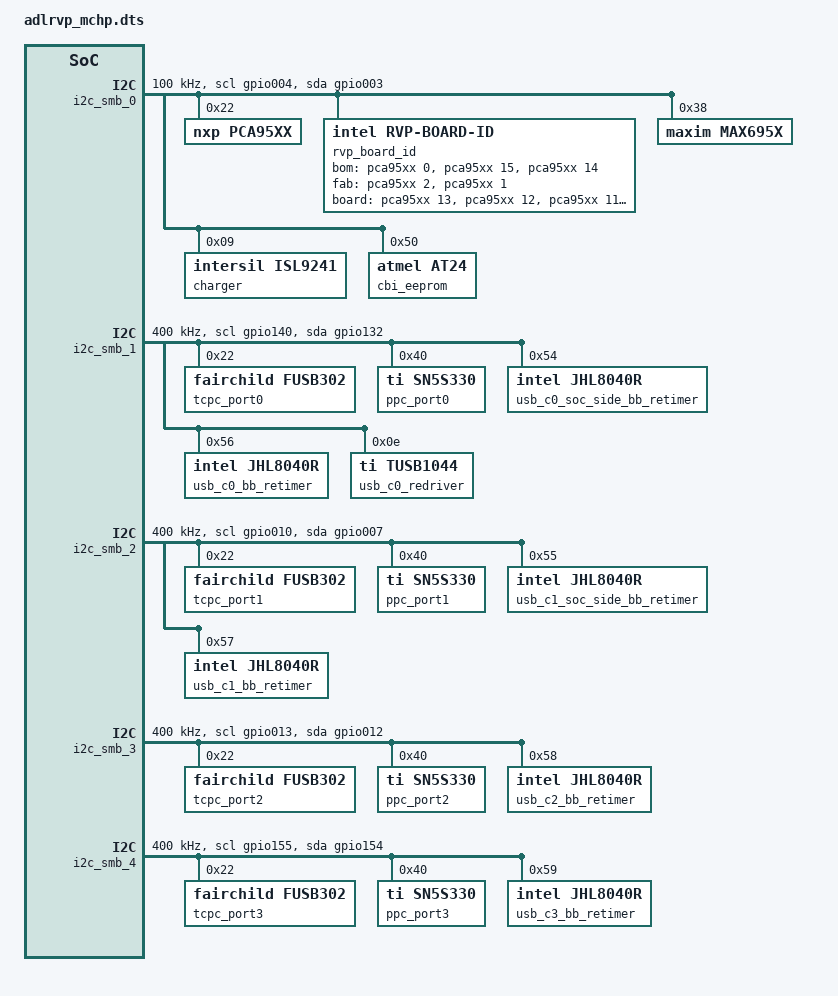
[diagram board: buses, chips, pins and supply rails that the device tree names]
/* Copyright 2022 The ChromiumOS Authors
 * Use of this source code is governed by a BSD-style license that can be
 * found in the LICENSE file.
 */

/ {
	hibernate-wake-pins {
		compatible = "cros-ec,hibernate-wake-pins";
		wakeup-irqs = <
			&int_ac_present
			&int_lid_open
			&int_power_button
		>;
	};

	named-i2c-ports {
		compatible = "named-i2c-ports";

		i2c_charger: charger {
			i2c-port = <&i2c_smb_0>;
			enum-names = "I2C_PORT_BATTERY",
				"I2C_PORT_CHARGER",
				"I2C_PORT_EEPROM",
				"I2C_PORT_PORT80";
		};
		typec_0: typec-0 {
			i2c-port = <&i2c_smb_1>;
			enum-names = "I2C_PORT_TYPEC_0";
		};
		typec_1: typec-1 {
			i2c-port = <&i2c_smb_2>;
			enum-names = "I2C_PORT_TYPEC_1";
		};
		typec_2: typec-2 {
			i2c-port = <&i2c_smb_3>;
			enum-names = "I2C_PORT_TYPEC_2";
		};
		typec_3: typec-3 {
			i2c-port = <&i2c_smb_4>;
			enum-names = "I2C_PORT_TYPEC_3";
		};
	};
};

/* charger */
&i2c_smb_0 {
	status = "okay";
	clock-frequency = <I2C_BITRATE_STANDARD>;
	port_sel = <0>;
	pinctrl-0 = <&i2c00_scl_gpio004 &i2c00_sda_gpio003>;
	pinctrl-names = "default";

	pca95xx: pca95xx@22 {
		compatible = "nxp,pca95xx";
		label = "PCA95XX";
		reg = <0x22>;
		gpio-controller;
		#gpio-cells = <2>;
		ngpios = <16>;
	};

	rvp_board_id: rvp-board-id {
		compatible = "intel,rvp-board-id";

		/*
		 * BOM ID [2]   : IOEX[0]
		 * BOM ID [1:0] : IOEX[15:14]
		 */
		bom-gpios = <&pca95xx 0 0>, <&pca95xx 15 0>, <&pca95xx 14 0>;

		/*
		 * FAB ID [1:0] : IOEX[2:1]
		 */
		fab-gpios = <&pca95xx 2 0>, <&pca95xx 1 0>;

		/*
		 * BOARD ID[5:0] : IOEX[13:8]
		 */
		board-gpios = <&pca95xx 13 0>, <&pca95xx 12 0>, <&pca95xx 11 0>,
			      <&pca95xx 10 0>, <&pca95xx 9 0>, <&pca95xx 8 0>;
	};

	max695x@38 {
		compatible = "maxim,max695x";
		reg = <0x38>;
	};

	charger: isl9241@9 {
		compatible = "intersil,isl9241";
		status = "okay";
		reg = <0x9>;
	};

	cbi_eeprom: eeprom@50 {
		compatible = "atmel,at24";
		reg = <0x50>;
		size = <2048>;
		pagesize = <16>;
		address-width = <8>;
		timeout = <5>;
	};
};

/* typec_0 */
&i2c_smb_1 {
	status = "okay";
	clock-frequency = <I2C_BITRATE_FAST>;
	port_sel = <6>;
	pinctrl-0 = <&i2c06_scl_gpio140 &i2c06_sda_gpio132>;
	pinctrl-names = "default";

	tcpc_port0: fusb302@22 {
		compatible = "fairchild,fusb302";
		reg = <0x22>;
		int-pin = <&usbc_tcpc_alrt_p0>;
	};

	ppc_port0: sn5s330@40 {
		compatible = "ti,sn5s330";
		status = "okay";
		reg = <0x40>;
	};

	usb_c0_soc_side_bb_retimer: jhl8040r-c0-soc-side@54 {
		compatible = "intel,jhl8040r";
		reg = <0x54>;
		reset-pin = <&usb_c0_bb_retimer_rst>;
		ls-en-pin = <&usb_c0_bb_retimer_ls_en>;
	};

	usb_c0_bb_retimer: jhl8040r-c0@56 {
		compatible = "intel,jhl8040r";
		reg = <0x56>;
		reset-pin = <&usb_c0_bb_retimer_rst>;
		ls-en-pin = <&usb_c0_bb_retimer_ls_en>;
	};

	usb_c0_redriver: tusb1044_mux_c0@0e {
		compatible = "ti,tusb1044";
		status = "okay";
		reg = <0x0e>;
	};
};

/* typec_1 */
&i2c_smb_2 {
	status = "okay";
	clock-frequency = <I2C_BITRATE_FAST>;
	port_sel = <3>;
	pinctrl-0 = <&i2c03_scl_gpio010 &i2c03_sda_gpio007>;
	pinctrl-names = "default";

	tcpc_port1: fusb302@22 {
		compatible = "fairchild,fusb302";
		reg = <0x22>;
		int-pin = <&usbc_tcpc_alrt_p1>;
	};

	ppc_port1: sn5s330@40 {
		compatible = "ti,sn5s330";
		status = "okay";
		reg = <0x40>;
	};

	usb_c1_soc_side_bb_retimer: jhl8040r-c1-soc-side@55 {
		compatible = "intel,jhl8040r";
		reg = <0x55>;
		reset-pin = <&usb_c1_bb_retimer_rst>;
		ls-en-pin = <&usb_c1_bb_retimer_ls_en>;
	};

	usb_c1_bb_retimer: jhl8040r-c1@57 {
		compatible = "intel,jhl8040r";
		reg = <0x57>;
		reset-pin = <&usb_c1_bb_retimer_rst>;
		ls-en-pin = <&usb_c1_bb_retimer_ls_en>;
	};
};

/* typec_2 */
&i2c_smb_3 {
	status = "okay";
	clock-frequency = <I2C_BITRATE_FAST>;
	port_sel = <7>;
	pinctrl-0 = <&i2c07_scl_gpio013 &i2c07_sda_gpio012>;
	pinctrl-names = "default";

	tcpc_port2: fusb302@22 {
		compatible = "fairchild,fusb302";
		reg = <0x22>;
		int-pin = <&usbc_tcpc_alrt_p2>;
	};

	ppc_port2: sn5s330@40 {
		compatible = "ti,sn5s330";
		status = "okay";
		reg = <0x40>;
	};

	usb_c2_bb_retimer: jhl8040r-c2@58 {
		compatible = "intel,jhl8040r";
		reg = <0x58>;
		reset-pin = <&usb_c2_bb_retimer_rst>;
		ls-en-pin = <&usb_c2_bb_retimer_ls_en>;
	};
};

/* typec_3 */
&i2c_smb_4 {
	status = "okay";
	clock-frequency = <I2C_BITRATE_FAST>;
	port_sel = <2>;
	pinctrl-0 = <&i2c02_scl_gpio155 &i2c02_sda_gpio154>;
	pinctrl-names = "default";

	tcpc_port3: fusb302@22 {
		compatible = "fairchild,fusb302";
		reg = <0x22>;
		int-pin = <&usbc_tcpc_alrt_p3>;
	};

	ppc_port3: sn5s330@40 {
		compatible = "ti,sn5s330";
		status = "okay";
		reg = <0x40>;
	};

	usb_c3_bb_retimer: jhl8040r-c3@59 {
		compatible = "intel,jhl8040r";
		reg = <0x59>;
		reset-pin = <&usb_c3_bb_retimer_rst>;
		ls-en-pin = <&usb_c3_bb_retimer_ls_en>;
	};
};
